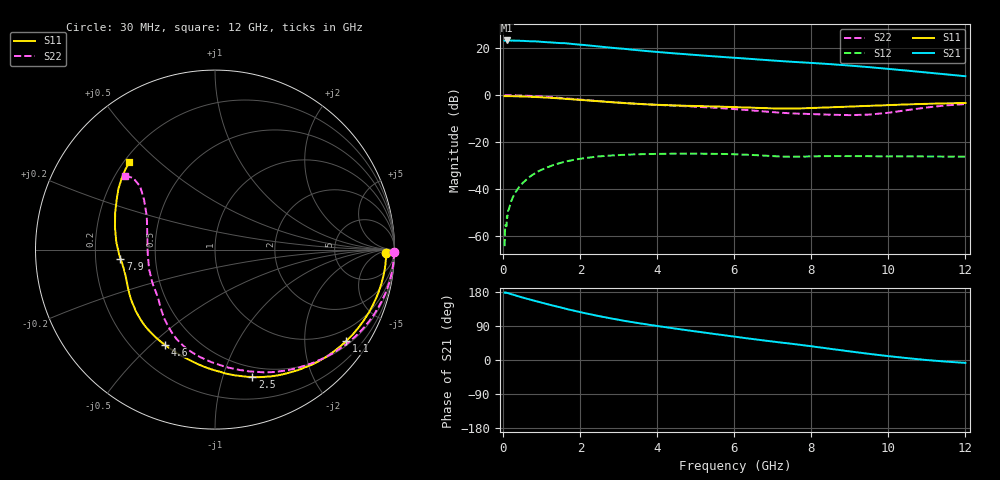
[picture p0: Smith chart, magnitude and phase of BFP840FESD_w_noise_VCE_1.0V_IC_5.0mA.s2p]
! Infineon Technologies  Discrete & RF Semiconductors
! BFP840FESD
! VCE =  1.0 V,  IC =  5.0 mA
! Common Emitter S-Parameters:  May 2012
# GHz  S  MA  R  50
!  f  S11  S21  S12  S22
! GHz  MAG  ANG  MAG  ANG  MAG  ANG  MAG  ANG
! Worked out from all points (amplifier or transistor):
!   103 points, 30 MHz to 12 GHz, reference 50 ohm
!   highest |S21| = 23.4 dB at 80 MHz (marker M1)
!   |S21| within 3 dB of that: start of sweep to 2.744 GHz
!   unconditionally stable (mu >= 1): 7.046 GHz to end of sweep
!   at 400 MHz: K = 0.03, MSG = 31.3 dB, |S12| = -39.3 dB
!   at 3.7 GHz: K = 0.36, MSG = 22.0 dB, |S12| = -25.1 dB
!   at 12 GHz: K = 1.32, MAG = 13.8 dB, |S12| = -26.2 dB
!   lowest NFmin = 0.55 dB at 450 MHz
!   S11 on the Smith chart (normalised r, x): 30 MHz: 37, -14; 1.1 GHz: 0.62, -3.08; 2.5 GHz: 0.40, -1.26; 4.6 GHz: 0.33, -0.55; 7.9 GHz: 0.31, -0.04; 12 GHz: 0.22, +0.40
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0.03  0.9541 -1.0  14.59 177.4  0.0006 117.9  0.9946 -0.7
0.04  0.9547 -1.3  14.61 177.1  0.0013 88.4  0.9955 -0.9
0.05  0.9542 -1.6  14.69 178.3  0.0017 89.9  0.9981 -1.2
0.08  0.953 -2.6  14.73 177.4  0.0016 75.2  0.9966 -2.2
0.09  0.9536 -3.0  14.71 177.1  0.0026 83.7  0.9971 -2.4
0.2  0.9519 -6.5  14.64 173.8  0.0054 84.8  0.9957 -5.7
0.5  0.9387 -16.2  14.44 164.8  0.0134 78.8  0.9806 -14.2
0.8  0.9176 -25.7  14.13 156.5  0.021 71.9  0.9559 -22.6
1.1  0.8913 -34.8  13.58 148.5  0.028 65.2  0.9237 -30.8
1.6  0.8378 -50.0  12.89 135.7  0.0381 54.5  0.8597 -44.2
2.1  0.7828 -63.6  11.77 124.0  0.0453 44.8  0.7944 -56.9
2.5  0.7399 -73.6  10.92 115.5  0.0495 38.1  0.747 -66.1
3.2  0.6739 -89.8  9.636 102.3  0.0537 28.8  0.6764 -80.0
4.1  0.6194 -108.1  8.237 88.2  0.0561 20.0  0.6159 -94.8
4.6  0.5991 -118.0  7.641 80.9  0.0566 16.2  0.5886 -102.0
5.4  0.5774 -132.2  6.815 69.8  0.0562 10.7  0.545 -112.6
6.1  0.5532 -144.3  6.213 60.3  0.0545 6.7  0.4982 -122.0
7.9  0.5289 -174.6  4.938 37.5  0.0492 7.8  0.3982 -149.5
8.5  0.5519 175.5  4.598 29.4  0.0502 7.7  0.3831 -163.4
9.5  0.593 159.7  3.965 16.2  0.0499 7.1  0.3858 167.9
10.5  0.6364 147.7  3.336 4.8  0.0494 8.4  0.4822 145.0
12  0.6806 134.5  2.537 -7.6  0.0488 12.5  0.6473 140.5
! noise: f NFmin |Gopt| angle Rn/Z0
0.45  0.55  0.51  6  0.17
0.9  0.59  0.49  12  0.18
1.5  0.61  0.45  18  0.17
1.9  0.63  0.41  27  0.17
2.4  0.65  0.39  34  0.18
3.5  0.66  0.38  54  0.17
5.5  0.75  0.26  92  0.12
8  0.92  0.22  150  0.11
10  1.08  0.26  -154  0.11
12  1.29  0.43  -126  0.13
